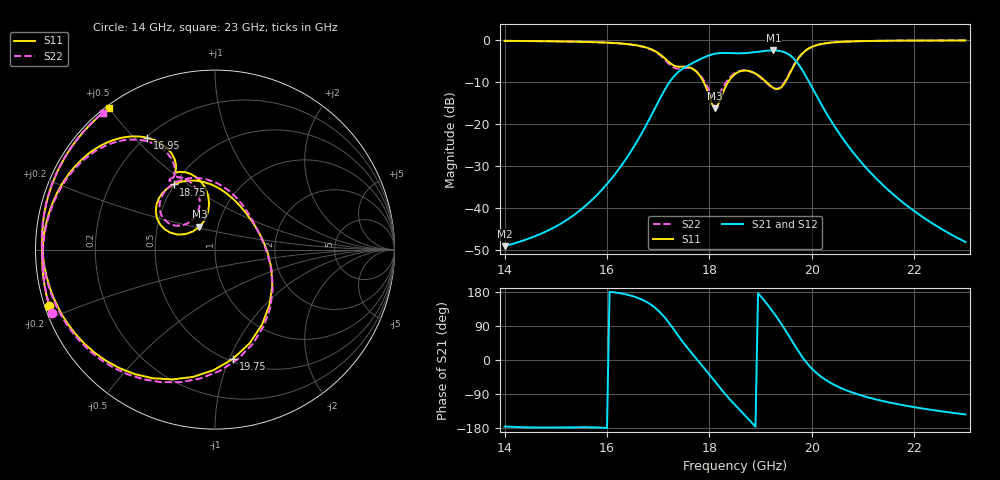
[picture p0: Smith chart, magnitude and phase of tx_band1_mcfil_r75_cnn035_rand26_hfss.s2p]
! Touchstone file exported from HFSS 3D Layout Design 2026.1.0
!  File:  D:/Work/SIM/ADS_AUTO_SIM/projects/RFSOC_RF/TX_Fillter.aedt
!  Generated:  08:13:28 AM Aug 31, 2026
!  Design:  TX_BAND1_MCFIL_R75_CNN035
!  Project:  TX_Fillter
# GHz S MA R 50.000000
! Terminal data exported
! Port[1] = Port1
! Port[2] = Port2
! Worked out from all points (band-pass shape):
!   181 points, 14 GHz to 23 GHz, reference 50 ohm
!   highest |S21| = -2.51 dB at 19.25 GHz (marker M1); lowest = -49.1 dB at 14 GHz (marker M2)
!   |S21| within 3 dB of the highest: 17.67 GHz to 19.72 GHz (2.049 GHz wide, 11 % of centre)
!   lowest |S11| = -16.2 dB at 18.1 GHz (marker M3), VSWR 1.36, Z = 40.8 + j10.6 ohm
!   |S11| at or under -10 dB: 17.88 GHz to 18.37 GHz (483.8 MHz wide, 2.67 % of centre); 19.11 GHz to 19.48 GHz (372.8 MHz wide, 1.93 % of centre)
!   |S22| runs from -13.6 to -0.1 dB; largest |S21 - S12| = 3.1e-14
!   S11 on the Smith chart (normalised r, x): 14 GHz: 0.01, -0.17; 16.95 GHz: 0.20, +0.55; 18.75 GHz: 0.50, +0.44; 19.75 GHz: 0.53, -1.03; 23 GHz: 0.01, +0.50
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14  0.9747 -161.2  0.003507 -175.4  0.003507 -175.4  0.9748 -158.8
15.5  0.95 169.8  0.009648 -177.3  0.009648 -177.3  0.9497 172.0
16.35  0.8984 146.6  0.03666 173.7  0.03666 173.7  0.8965 148.4
16.95  0.729 121.2  0.159 136.6  0.159 136.6  0.7171 122.4
17  0.6979 118.9  0.1822 130.6  0.1822 130.6  0.6837 120.1
17.2  0.5515 114.1  0.3009 99.8  0.3009 99.8  0.5253 115.7
17.5  0.4808 117.5  0.4636 44.3  0.4636 44.3  0.4638 123.2
17.85  0.3462 98.9  0.6016 -13.5  0.6016 -13.5  0.3608 107.5
18.1  0.1541 124.2  0.6826 -55.4  0.6826 -55.4  0.2077 127.0
18.3  0.2656 159.3  0.7002 -88.3  0.7002 -88.3  0.2952 150.4
18.5  0.3923 147.2  0.6943 -118.5  0.6943 -118.5  0.4036 139.8
18.75  0.4299 122.3  0.7004 -154.1  0.7004 -154.1  0.4297 114.7
19  0.3614 92.6  0.7298 168.4  0.7298 168.4  0.3542 82.6
19.25  0.2679 50.6  0.7493 125.5  0.7493 125.5  0.2648 38.3
19.5  0.33 -18.1  0.6993 75.4  0.6993 75.4  0.3423 -22.3
19.65  0.4936 -58.0  0.5981 42.3  0.5981 42.3  0.504 -57.2
19.75  0.6162 -80.6  0.5024 20.9  0.5024 20.9  0.6229 -78.2
20  0.8249 -122.7  0.2755 -22.4  0.2755 -22.4  0.8254 -118.9
20.2  0.8973 -144.5  0.1651 -45.9  0.1651 -45.9  0.8961 -140.5
20.5  0.9427 -165.9  0.08296 -69.8  0.08296 -69.8  0.9413 -162.1
21.5  0.9784 156.9  0.01621 -111.6  0.01621 -111.6  0.9778 160.0
23  0.9852 126.8  0.003935 -143.6  0.003935 -143.6  0.9853 129.3
